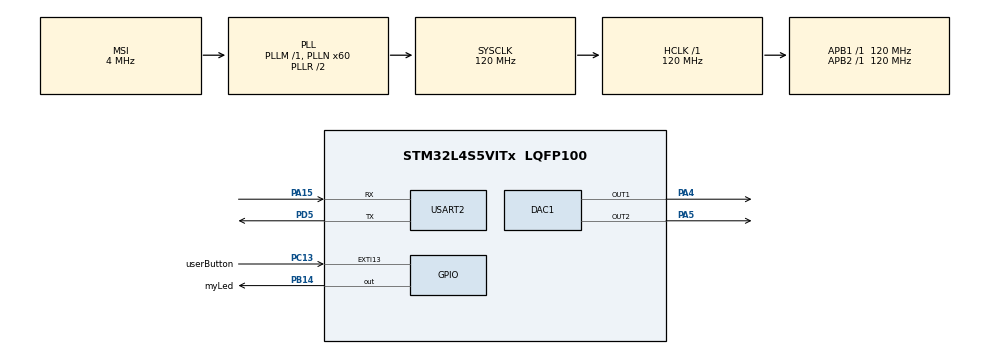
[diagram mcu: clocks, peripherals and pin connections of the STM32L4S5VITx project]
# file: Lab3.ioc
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DAC1.DAC_Channel-DAC_OUT2=DAC_CHANNEL_2
DAC1.DAC_Trigger-DAC_OUT1=DAC_TRIGGER_T2_TRGO
Dma.DAC1_CH1.0.Direction=DMA_MEMORY_TO_PERIPH
Dma.DAC1_CH1.0.EventEnable=DISABLE
Dma.DAC1_CH1.0.Instance=DMA1_Channel1
Dma.DAC1_CH1.0.MemDataAlignment=DMA_MDATAALIGN_HALFWORD
Dma.DAC1_CH1.0.MemInc=DMA_MINC_ENABLE
Dma.DAC1_CH1.0.Mode=DMA_CIRCULAR
Dma.DAC1_CH1.0.PeriphDataAlignment=DMA_PDATAALIGN_HALFWORD
Dma.DAC1_CH1.0.PeriphInc=DMA_PINC_DISABLE
Dma.DAC1_CH1.0.Polarity=HAL_DMAMUX_REQUEST_GEN_RISING
Dma.DAC1_CH1.0.Priority=DMA_PRIORITY_LOW
Dma.DAC1_CH1.0.RequestNumber=1
Dma.DAC1_CH1.0.SignalID=NONE
Dma.DAC1_CH1.0.SyncEnable=DISABLE
Dma.DAC1_CH1.0.SyncPolarity=HAL_DMAMUX_SYNC_NO_EVENT
Dma.DAC1_CH1.0.SyncRequestNumber=1
Dma.DAC1_CH1.0.SyncSignalID=NONE
Dma.Request0=DAC1_CH1
Mcu.Family=STM32L4
Mcu.Name=STM32L4S5VITx
Mcu.Package=LQFP100
NVIC.DMA1_Channel1_IRQn=true\:0\:0\:false\:false\:true\:false\:true\:true
NVIC.EXTI15_10_IRQn=true\:0\:0\:false\:false\:true\:true\:true\:true
NVIC.PriorityGroup=NVIC_PRIORITYGROUP_4
NVIC.TIM2_IRQn=true\:0\:0\:false\:false\:true\:true\:true\:true
PA13\ (JTMS/SWDIO).Signal=SYS_JTMS-SWDIO
PA14\ (JTCK/SWCLK).Signal=SYS_JTCK-SWCLK
PA15\ (JTDI).Mode=Asynchronous
PA15\ (JTDI).Signal=USART2_RX
PA2.Signal=LPUART1_TX
PA3.Signal=LPUART1_RX
PA4.Signal=COMP_DAC11_group
PA5.Signal=COMP_DAC12_group
PB14.GPIO_Label=myLed
PB14.Signal=GPIO_Output
PB3\ (JTDO/TRACESWO).Signal=SYS_JTDO-SWO
PC13.GPIO_Label=userButton
PC13.Signal=GPXTI13
PD5.Mode=Asynchronous
PD5.Signal=USART2_TX
ProjectManager.HeapSize=0x200
ProjectManager.StackSize=0x400
ProjectManager.TargetToolchain=STM32CubeIDE
RCC.ADCFreq_Value=48000000
RCC.AHBFreq_Value=120000000
RCC.APB1Freq_Value=120000000
RCC.APB1TimFreq_Value=120000000
RCC.APB2Freq_Value=120000000
RCC.APB2TimFreq_Value=120000000
RCC.CortexFreq_Value=120000000
RCC.HCLKFreq_Value=120000000
RCC.HSE_VALUE=8000000
RCC.HSI48_VALUE=48000000
RCC.HSI_VALUE=16000000
RCC.LSE_VALUE=32768
RCC.MSI_VALUE=4000000
RCC.PLLN=60
RCC.PLLSAI1N=24
RCC.SYSCLKFreq_VALUE=120000000
RCC.SYSCLKSource=RCC_SYSCLKSOURCE_PLLCLK
RCC.USBFreq_Value=48000000
RCC.VCOOutputFreq_Value=240000000
SH.COMP_DAC11_group.0=DAC1_OUT1,DAC_OUT1
SH.COMP_DAC12_group.0=DAC1_OUT2,DAC_OUT2
TIM2.Period=2721
TIM2.Prescaler=0
TIM2.TIM_MasterOutputTrigger=TIM_TRGO_UPDATE
USART2.VirtualMode-Asynchronous=VM_ASYNC
VP_TIM2_VS_ClockSourceINT.Mode=Internal
board=B-L4S5I-IOT01A

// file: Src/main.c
/* USER CODE BEGIN Header */
/**
  ******************************************************************************
  * @file           : main.c
  * @brief          : Main program body
  ******************************************************************************
  * @attention
  *
  * Copyright (c) 2023 STMicroelectronics.
  * All rights reserved.
  *
  * This software is licensed under terms that can be found in the LICENSE file
  * in the root directory of this software component.
  * If no LICENSE file comes with this software, it is provided AS-IS.
  *
  ******************************************************************************
  */
/* USER CODE END Header */
#include "main.h"

/* USER CODE BEGIN Includes */
#include <stdio.h>
// included so we can call CMSIS functions
#define ARM_MATH_CM4
#include "arm_math.h"
/* USER CODE END Includes */

/* USER CODE BEGIN PTD */
// UART stuff for printf

/* USER CODE END PTD */

/* USER CODE BEGIN PD */
//#define PI 3.14159 // already defined in arm_math or C
/* USER CODE END PD */

DAC_HandleTypeDef hdac1;
DMA_HandleTypeDef hdma_dac1_ch1;

TIM_HandleTypeDef htim2;

UART_HandleTypeDef huart2;

/* USER CODE BEGIN PV */
DAC_ChannelConfTypeDef sConfigGlobal;

/*
 * Part 2 variables
 * 44.1 kHz sample rate (done with 2721 counter period which is clock frequency/desired sample rate)
 * 22 kHz max (to satisfy Nyquist criterion)
 */
int note_selector; // [0, 2] to indicate if the note that should be played is C6 E6 or G6 respectively
//uint16_t note_data[924]; // array to hold DAC output of whichever note is currently being played (924 is LCM of each note's number of samples for cicularity)
int note_data_index; // index of above array to indicate which piece of data we are on (from step 2 of part 2)
int C6_size = 44; // C6 is 1kHz, so 44 samples per period
int E6_size = 33; // E6 is 1.3kHz, so 33 samples per period
int G6_size = 28; // G6 is 1.57Hz, so 28 samples per period
uint16_t C6_data[44];
uint16_t E6_data[33];
uint16_t G6_data[28];

//char change_note = 0;

/*
 * Part 1 variables
 */
int sine_wave_index; //[0, 43] 44.1 kHz sample rate, 1kHz desired sine wave, so one period every 44 samples
float sine_wave_values[44];

/* USER CODE END PV */

void SystemClock_Config(void);
static void MX_GPIO_Init(void);
static void MX_DMA_Init(void);
static void MX_DAC1_Init(void);
static void MX_TIM2_Init(void);
static void MX_USART2_UART_Init(void);
/* USER CODE BEGIN PFP */
#ifdef __GNUC__
#define PUTCHAR_PROTOTYPE int __io_putchar(int ch)
#else
#define PUTCHAR_PROTOTYPE int fputc(int ch, FILE *f)
#endif

PUTCHAR_PROTOTYPE
{
  HAL_UART_Transmit(&huart2, (uint8_t *)&ch, 1, HAL_MAX_DELAY);
  return ch;
}
/* USER CODE END PFP */

/* USER CODE BEGIN 0 */

// Define our interrupt handlers
// Handler for button interrupt
void HAL_GPIO_EXTI_Callback(uint16_t GPIO_Pin) { // page 391 HAL driver manual
	if (GPIO_Pin == userButton_Pin) { // verify that only the pin we want is starting this interrupt (good coding practice)
		note_selector = (note_selector + 1)%3; // cycle through three notes
		// change note
		HAL_DAC_Stop_DMA(&hdac1, DAC_CHANNEL_1);
		if (note_selector == 0) { // C6
			HAL_DAC_Start_DMA(&hdac1, DAC_CHANNEL_1, (uint32_t*) C6_data, (uint32_t) C6_size, DAC_ALIGN_12B_R);
			printf("C6\n");
		} else if (note_selector == 1) { // E6
			HAL_DAC_Start_DMA(&hdac1, DAC_CHANNEL_1, (uint32_t*) E6_data, (uint32_t) E6_size, DAC_ALIGN_12B_R);
			printf("E6\n");
		} else if (note_selector == 2) { // G6
			HAL_DAC_Start_DMA(&hdac1, DAC_CHANNEL_1, (uint32_t*) G6_data, (uint32_t) G6_size, DAC_ALIGN_12B_R);
			printf("G6\n");
		}

		HAL_GPIO_TogglePin(myLed_GPIO_Port, myLed_Pin); // toggle LED as user feedback for a successful button press
	}
}

// Handler for timer interrupt (from step 2 in part 2)
//void HAL_TIM_PeriodElapsedCallback(TIM_HandleTypeDef *htim) {
//	if (htim == &htim2) {
//		sine_wave_index = (sine_wave_index + 1)%44;
//
//		HAL_DAC_SetValue(&hdac1, DAC1_CHANNEL_2, DAC_ALIGN_12B_R, (uint32_t) sine_wave_values[sine_wave_index]);
//
//		note_data_index = (note_data_index + 1) % 15;
//	}
//}

// DMA *** This is totally unnecessary, can just restart DMA process with button press
//void HAL_DAC_ConvCpltCallbackCh1(DAC_HandleTypeDef *hdac) {
//	if (change_note) {
//		if (note_selector == 0) { // C6
//			for (int i = 0; i < 924; i++) {
//				note_data[i] = C6_data[i%C6_size];
//			}
//		} else if (note_selector == 1) { // E6
//			for (int i = 0; i < 924; i++) {
//				note_data[i] = E6_data[i%E6_size];
//			}
//		} else if (note_selector == 2) { // G6
//			for (int i = 0; i < 924; i++) {
//				note_data[i] = G6_data[i%G6_size];
//			}
//		}
//		change_note = 0; // reset this flag so we know we don't need to change the note
//		printf("Note Changed\n");
//	}
//}

// for printf
int _write(int file, char *ptr, int len) {
	int DataIdx;
	for (DataIdx = 0; DataIdx < len; DataIdx++) {
		ITM_SendChar(*ptr++);
	}
	return len;
}

/* USER CODE END 0 */

int main(void)
{
  /* USER CODE BEGIN 1 */
	note_selector = 2; // [0, 2] to indicate if the note that should be played is C6 E6 or G6 respectively

	note_data_index = 0; // index of above array to indicate which piece of data we are on (for step 2 of part 2)

	sine_wave_index = 0; //[0, 43] 44.1 kHz sample rate, 1kHz desired sine wave, so one period every 44 samples (for part 1)

  /* USER CODE END 1 */

  /* MCU Configuration--------------------------------------------------------*/

  /* Reset of all peripherals, Initializes the Flash interface and the Systick. */
  HAL_Init();

  /* Configure the system clock */
  SystemClock_Config();

  /* Initialize all configured peripherals */
  MX_GPIO_Init();
  MX_DMA_Init();
  MX_DAC1_Init();
  MX_TIM2_Init();
  MX_USART2_UART_Init();
  /* USER CODE BEGIN 2 */

  // Initialize DAC
  HAL_DACEx_SelfCalibrate(&hdac1, &sConfigGlobal, DAC1_CHANNEL_1);
  HAL_DACEx_SelfCalibrate(&hdac1, &sConfigGlobal, DAC1_CHANNEL_2); //from part 1

  // Start DAC and timer
  //HAL_DAC_Start(&hdac1, DAC1_CHANNEL_1);
  //HAL_DAC_Start(&hdac1, DAC1_CHANNEL_2); //from part 1
  HAL_TIM_Base_Start_IT(&htim2); // Start the timer in interrupt mode (for step 2 of part 2)

  // ----------------------------------------------------------------------------------------------------------------------------------------
  // Part 1 Code below
  // ----------------------------------------------------------------------------------------------------------------------------------------
  /*
   * 16 discrete values for saw wave (as in lab doc example)
   * 8 discrete values for triangle wave (as in lab doc example)
   */
  // Variables for triangle wave
//  int triangle_wave_value = 0;
//  int triangle_wave_increment = -2; // start negative because sign will flip in first
//  uint32_t triangle_signal;
//
//  // Variables for saw wave
//  int saw_wave_value = 0;
//  int saw_wave_increment = 1;
//  uint32_t saw_signal;
//
//  int saw_tri_samples_per_period = 8;
//
//  // Variables for sine wave
//  float sine_wave_value;
//  uint32_t sine_wave_signal;
//  int sine_radians = 0; // value [0,sine_cylces] which when multiplied by 2*PI/sine_samples_per_period will return radians for sine output
//  int sine_samples_per_period = 8;
//
//  // Variables for input/output
//  char status = 1; // status 1 is saw, 0 is triangle
//  int saw_multiplier = 585; // signal multiplier (should make signal = 4095 for max voltage @ 12-bit resolution, max value for saw and tri is 7 and 7*585 = 4095)
//  int tri_multiplier = 512; // makes signal 4096, will subtract 1 from end value
//  int sine_multiplier = 2048; // max signal output 2, so this makes max DAC value 4096 (will subtract one from signal for 4095)
  // ----------------------------------------------------------------------------------------------------------------------------------------
  // Part 1 Code above
  // ----------------------------------------------------------------------------------------------------------------------------------------
  // ----------------------------------------------------------------------------------------------------------------------------------------
  // Part 2 Code below
  // ----------------------------------------------------------------------------------------------------------------------------------------

  // make sine array (from step 2 of part 2)
//  for (sine_wave_index = 0; sine_wave_index < 44; sine_wave_index++) {
//	  sine_wave_values[sine_wave_index] = (arm_sin_f32(2*PI*sine_wave_index/44)+1)*(1365); //1365 multiplier as 4095 max output, max sine output of 2, scale down to 2/3 to reduce distortion (4095/2)*(2/3)
//
//  }
//  printf("Sine array made.\n");

  // Make notes
  for (int i = 0; i < C6_size; i++) {
	  C6_data[i] = (arm_sin_f32(2*PI*i/C6_size)+1)*(1365); // 1365 multiplier as 4095 max output, max sine output of 2, scale down to 2/3 to reduce distortion (4095/2)*(2/3)
  }
  for (int i = 0; i < E6_size; i++) {
  	  E6_data[i] = (arm_sin_f32(2*PI*i/E6_size)+1)*(1365);
  }
  for (int i = 0; i < G6_size; i++) {
  	  G6_data[i] = (arm_sin_f32(2*PI*i/G6_size)+1)*(1365);
  }

  // initialize note_data for C6 to start ** from old way of doing it
//    for (int i = 0; i < 924; i++) {
//  	  note_data[i] = C6_data[i%C6_size];
//    }
  // Start DAC with DMA
  //HAL_DAC_Start_DMA(&hdac1, DAC_CHANNEL_1, (uint32_t*) C6_data, (uint32_t) C6_size, DAC_ALIGN_12B_R);

  printf("Program started\n");
  /* USER CODE END 2 */

  /* Infinite loop */
  /* USER CODE BEGIN WHILE */
  while (1)
  {

	  // ----------------------------------------------------------------------------------------------------------------------------------------
	  	  // Part 1 Code below
	  	  // ----------------------------------------------------------------------------------------------------------------------------------------
	  	  // Increment triangle wave
//	  	  if (triangle_wave_value == saw_tri_samples_per_period || triangle_wave_value == 0) { // flip increment when at max and min
//	  		  triangle_wave_increment *= -1;
//	  	  }
//	  	  triangle_wave_value  += triangle_wave_increment;
//
//	  	  // Increment saw wave
//	  	  saw_wave_value += saw_wave_increment;
//	  	  saw_wave_value = saw_wave_value % saw_tri_samples_per_period;
//
//	  	  // Increment sine wave
//	  	  sine_radians += 1;
//	  	  sine_radians = sine_radians % sine_samples_per_period;
//
//	  	  // Get signal to pass to DAC (scaled up for larger voltage)
//	  	  triangle_signal = triangle_wave_value*tri_multiplier;
//	  	  saw_signal = saw_wave_value*saw_multiplier;
//
//	  	  // Output to DAC (this currently switches the signals to the output ports, but one of the ports is not working)
//	  	  // Comment out to show sine signal
//	  	  if (status = 1) {
//
//	  	  	  HAL_DAC_SetValue(&hdac1, DAC1_CHANNEL_2, DAC_ALIGN_12B_R, saw_signal);
//	  		//HAL_DAC_SetValue(&hdac1, DAC1_CHANNEL_1, DAC_ALIGN_12B_R, triangle_signal); // second output pin not working
//	  	  } else {
//	  		  if (triangle_signal == 4096) {triangle_signal -= 1;}
//	  		  HAL_DAC_SetValue(&hdac1, DAC1_CHANNEL_2, DAC_ALIGN_12B_R, triangle_signal);
//	  		  //HAL_DAC_SetValue(&hdac1, DAC1_CHANNEL_1, DAC_ALIGN_12B_R, saw_signal); // second output pin not working
//	  	  }
//	  	  HAL_Delay(1); // delay 2ms for triangle and saw

	  	  /*
	  	   * Sine output
	  	   * 14 cycles (~14ms period)
	  	   * Commented out to show saw and triangle signals
	  	   */
//	  	  sine_wave_value = arm_sin_f32(sine_radians*PI*2/(sine_samples_per_period)) + 1; // potentially add 1 for positive DAC output
//	  	  sine_wave_signal = sine_wave_value * sine_multiplier; // make max value 4095 (max for 12 bit DAC resolution)
//	  	  if (sine_wave_signal == 4096) {sine_wave_signal -= 1;}
//	  	  HAL_DAC_SetValue(&hdac1, DAC1_CHANNEL_2, DAC_ALIGN_12B_R, sine_wave_signal);
//	  	  HAL_Delay(1); // delay  2ms for sine wave (sample frequency is more than twice the signal frequency, so we meet nyquist criterion)
	  	  // ----------------------------------------------------------------------------------------------------------------------------------------
	  	  // Part 1 Code above
	  	  // ----------------------------------------------------------------------------------------------------------------------------------------

    /* USER CODE END WHILE */

  }
}

void SystemClock_Config(void)
{
  RCC_OscInitTypeDef RCC_OscInitStruct = {0};
  RCC_ClkInitTypeDef RCC_ClkInitStruct = {0};

  /** Configure the main internal regulator output voltage
  */
  if (HAL_PWREx_ControlVoltageScaling(PWR_REGULATOR_VOLTAGE_SCALE1_BOOST) != HAL_OK)
  {
    Error_Handler();
  }

  /** Initializes the RCC Oscillators according to the specified parameters
  * in the RCC_OscInitTypeDef structure.
  */
  RCC_OscInitStruct.OscillatorType = RCC_OSCILLATORTYPE_MSI;
  RCC_OscInitStruct.MSIState = RCC_MSI_ON;
  RCC_OscInitStruct.MSICalibrationValue = 0;
  RCC_OscInitStruct.MSIClockRange = RCC_MSIRANGE_6;
  RCC_OscInitStruct.PLL.PLLState = RCC_PLL_ON;
  RCC_OscInitStruct.PLL.PLLSource = RCC_PLLSOURCE_MSI;
  RCC_OscInitStruct.PLL.PLLM = 1;
  RCC_OscInitStruct.PLL.PLLN = 60;
  RCC_OscInitStruct.PLL.PLLP = RCC_PLLP_DIV2;
  RCC_OscInitStruct.PLL.PLLQ = RCC_PLLQ_DIV2;
  RCC_OscInitStruct.PLL.PLLR = RCC_PLLR_DIV2;
  if (HAL_RCC_OscConfig(&RCC_OscInitStruct) != HAL_OK)
  {
    Error_Handler();
  }

  /** Initializes the CPU, AHB and APB buses clocks
  */
  RCC_ClkInitStruct.ClockType = RCC_CLOCKTYPE_HCLK|RCC_CLOCKTYPE_SYSCLK
                              |RCC_CLOCKTYPE_PCLK1|RCC_CLOCKTYPE_PCLK2;
  RCC_ClkInitStruct.SYSCLKSource = RCC_SYSCLKSOURCE_PLLCLK;
  RCC_ClkInitStruct.AHBCLKDivider = RCC_SYSCLK_DIV1;
  RCC_ClkInitStruct.APB1CLKDivider = RCC_HCLK_DIV1;
  RCC_ClkInitStruct.APB2CLKDivider = RCC_HCLK_DIV1;

  if (HAL_RCC_ClockConfig(&RCC_ClkInitStruct, FLASH_LATENCY_5) != HAL_OK)
  {
    Error_Handler();
  }
}

static void MX_DAC1_Init(void)
{

  DAC_ChannelConfTypeDef sConfig = {0};

  /** DAC Initialization
  */
  hdac1.Instance = DAC1;
  if (HAL_DAC_Init(&hdac1) != HAL_OK)
  {
    Error_Handler();
  }

  /** DAC channel OUT1 config
  */
  sConfig.DAC_SampleAndHold = DAC_SAMPLEANDHOLD_DISABLE;
  sConfig.DAC_Trigger = DAC_TRIGGER_T2_TRGO;
  sConfig.DAC_HighFrequency = DAC_HIGH_FREQUENCY_INTERFACE_MODE_ABOVE_80MHZ;
  sConfig.DAC_OutputBuffer = DAC_OUTPUTBUFFER_ENABLE;
  sConfig.DAC_ConnectOnChipPeripheral = DAC_CHIPCONNECT_DISABLE;
  sConfig.DAC_UserTrimming = DAC_TRIMMING_FACTORY;
  if (HAL_DAC_ConfigChannel(&hdac1, &sConfig, DAC_CHANNEL_1) != HAL_OK)
  {
    Error_Handler();
  }

  /** DAC channel OUT2 config
  */
  sConfig.DAC_Trigger = DAC_TRIGGER_NONE;
  if (HAL_DAC_ConfigChannel(&hdac1, &sConfig, DAC_CHANNEL_2) != HAL_OK)
  {
    Error_Handler();
  }

}

static void MX_TIM2_Init(void)
{

  TIM_ClockConfigTypeDef sClockSourceConfig = {0};
  TIM_MasterConfigTypeDef sMasterConfig = {0};

  htim2.Instance = TIM2;
  htim2.Init.Prescaler = 0;
  htim2.Init.CounterMode = TIM_COUNTERMODE_UP;
  htim2.Init.Period = 2721;
  htim2.Init.ClockDivision = TIM_CLOCKDIVISION_DIV1;
  htim2.Init.AutoReloadPreload = TIM_AUTORELOAD_PRELOAD_DISABLE;
  if (HAL_TIM_Base_Init(&htim2) != HAL_OK)
  {
    Error_Handler();
  }
  sClockSourceConfig.ClockSource = TIM_CLOCKSOURCE_INTERNAL;
  if (HAL_TIM_ConfigClockSource(&htim2, &sClockSourceConfig) != HAL_OK)
  {
    Error_Handler();
  }
  sMasterConfig.MasterOutputTrigger = TIM_TRGO_UPDATE;
  sMasterConfig.MasterSlaveMode = TIM_MASTERSLAVEMODE_DISABLE;
  if (HAL_TIMEx_MasterConfigSynchronization(&htim2, &sMasterConfig) != HAL_OK)
  {
    Error_Handler();
  }

}

static void MX_USART2_UART_Init(void)
{

  huart2.Instance = USART2;
  huart2.Init.BaudRate = 115200;
  huart2.Init.WordLength = UART_WORDLENGTH_8B;
  huart2.Init.StopBits = UART_STOPBITS_1;
  huart2.Init.Parity = UART_PARITY_NONE;
  huart2.Init.Mode = UART_MODE_TX_RX;
  huart2.Init.HwFlowCtl = UART_HWCONTROL_NONE;
  huart2.Init.OverSampling = UART_OVERSAMPLING_16;
  huart2.Init.OneBitSampling = UART_ONE_BIT_SAMPLE_DISABLE;
  huart2.Init.ClockPrescaler = UART_PRESCALER_DIV1;
  huart2.AdvancedInit.AdvFeatureInit = UART_ADVFEATURE_NO_INIT;
  if (HAL_UART_Init(&huart2) != HAL_OK)
  {
    Error_Handler();
  }
  if (HAL_UARTEx_SetTxFifoThreshold(&huart2, UART_TXFIFO_THRESHOLD_1_8) != HAL_OK)
  {
    Error_Handler();
  }
  if (HAL_UARTEx_SetRxFifoThreshold(&huart2, UART_RXFIFO_THRESHOLD_1_8) != HAL_OK)
  {
    Error_Handler();
  }
  if (HAL_UARTEx_DisableFifoMode(&huart2) != HAL_OK)
  {
    Error_Handler();
  }

}

static void MX_DMA_Init(void)
{

  /* DMA controller clock enable */
  __HAL_RCC_DMAMUX1_CLK_ENABLE();
  __HAL_RCC_DMA1_CLK_ENABLE();

  /* DMA interrupt init */
  /* DMA1_Channel1_IRQn interrupt configuration */
  HAL_NVIC_SetPriority(DMA1_Channel1_IRQn, 0, 0);
  HAL_NVIC_EnableIRQ(DMA1_Channel1_IRQn);

}

static void MX_GPIO_Init(void)
{
  GPIO_InitTypeDef GPIO_InitStruct = {0};

  /* GPIO Ports Clock Enable */
  __HAL_RCC_GPIOC_CLK_ENABLE();
  __HAL_RCC_GPIOA_CLK_ENABLE();
  __HAL_RCC_GPIOB_CLK_ENABLE();
  __HAL_RCC_GPIOD_CLK_ENABLE();

  /*Configure GPIO pin Output Level */
  HAL_GPIO_WritePin(myLed_GPIO_Port, myLed_Pin, GPIO_PIN_RESET);

  /*Configure GPIO pin : userButton_Pin */
  GPIO_InitStruct.Pin = userButton_Pin;
  GPIO_InitStruct.Mode = GPIO_MODE_IT_RISING;
  GPIO_InitStruct.Pull = GPIO_NOPULL;
  HAL_GPIO_Init(userButton_GPIO_Port, &GPIO_InitStruct);

  /*Configure GPIO pins : PA2 PA3 */
  GPIO_InitStruct.Pin = GPIO_PIN_2|GPIO_PIN_3;
  GPIO_InitStruct.Mode = GPIO_MODE_AF_PP;
  GPIO_InitStruct.Pull = GPIO_NOPULL;
  GPIO_InitStruct.Speed = GPIO_SPEED_FREQ_VERY_HIGH;
  GPIO_InitStruct.Alternate = GPIO_AF8_LPUART1;
  HAL_GPIO_Init(GPIOA, &GPIO_InitStruct);

  /*Configure GPIO pin : myLed_Pin */
  GPIO_InitStruct.Pin = myLed_Pin;
  GPIO_InitStruct.Mode = GPIO_MODE_OUTPUT_PP;
  GPIO_InitStruct.Pull = GPIO_NOPULL;
  GPIO_InitStruct.Speed = GPIO_SPEED_FREQ_LOW;
  HAL_GPIO_Init(myLed_GPIO_Port, &GPIO_InitStruct);

  /* EXTI interrupt init*/
  HAL_NVIC_SetPriority(EXTI15_10_IRQn, 0, 0);
  HAL_NVIC_EnableIRQ(EXTI15_10_IRQn);

}

void Error_Handler(void)
{
  __disable_irq();
  while (1)
  {
  }
}
